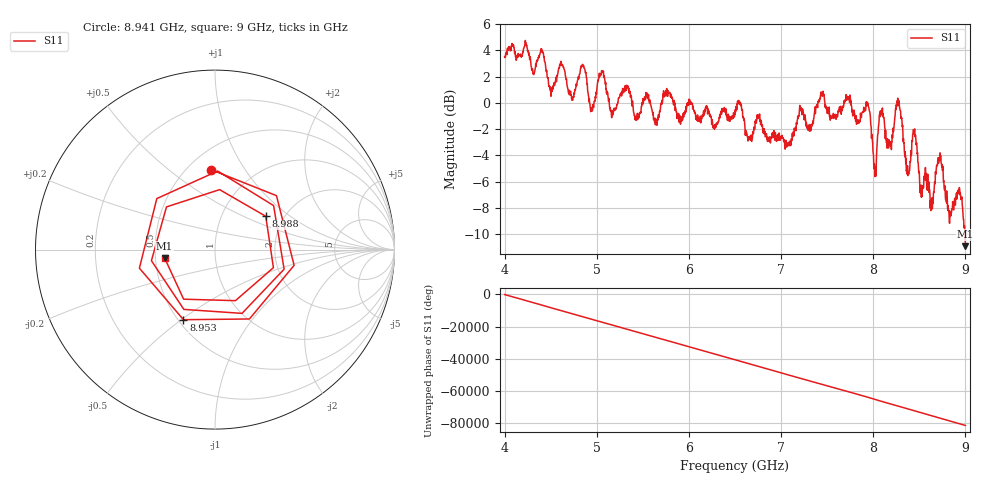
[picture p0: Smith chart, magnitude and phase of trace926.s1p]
! Created with skrf 1.8.0 (http://scikit-rf.org).
# Hz S RI R 50.0
!freq ReS11 ImS11
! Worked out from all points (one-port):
!   1601 points, 4 GHz to 9 GHz, reference 50 ohm
!   lowest |S11| = -10.9 dB at 9 GHz (marker M1), VSWR 1.80, Z = 28 - j2.86 ohm
!   |S11| at or under -10 dB: 8.993108 GHz to 8.995461 GHz (2.353 MHz wide, 0.0262 % of centre); 8.997717 GHz to end of sweep
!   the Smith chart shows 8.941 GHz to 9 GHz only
!   S11 on the Smith chart (normalised r, x): 8.941 GHz: 0.64, +0.72; 8.953 GHz: 0.53, -0.51; 8.988 GHz: 1.61, +0.68; 9 GHz: 0.56, -0.06
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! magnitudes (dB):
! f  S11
! 4 GHz  3.5
! 4.403 GHz  4.1
! 4.506 GHz  1.0
! 4.625 GHz  2.9
! 4.725 GHz  0.5
! 4.859 GHz  2.8
! 4.941 GHz  -0.4
! 5.05 GHz  2.4
! 5.162 GHz  -1.1
! 5.25 GHz  0.5
! 5.875 GHz  -0.9
! 6.5 GHz  -0.9
! 7.125 GHz  -2.6
! 7.75 GHz  0.5
! 7.944 GHz  0.0
! 8.019 GHz  -5.6
! 8.081 GHz  -0.9
! 8.175 GHz  -2.9
! 8.272 GHz  0.1
! 8.375 GHz  -5.5
! 8.447 GHz  -2.1
! 8.631 GHz  -8.0
! 8.712 GHz  -4.4
! 8.831 GHz  -8.8
! 8.941 GHz  -7.0
! 8.953 GHz  -7.4
! 8.988 GHz  -9.4
! 9 GHz  -10.9
